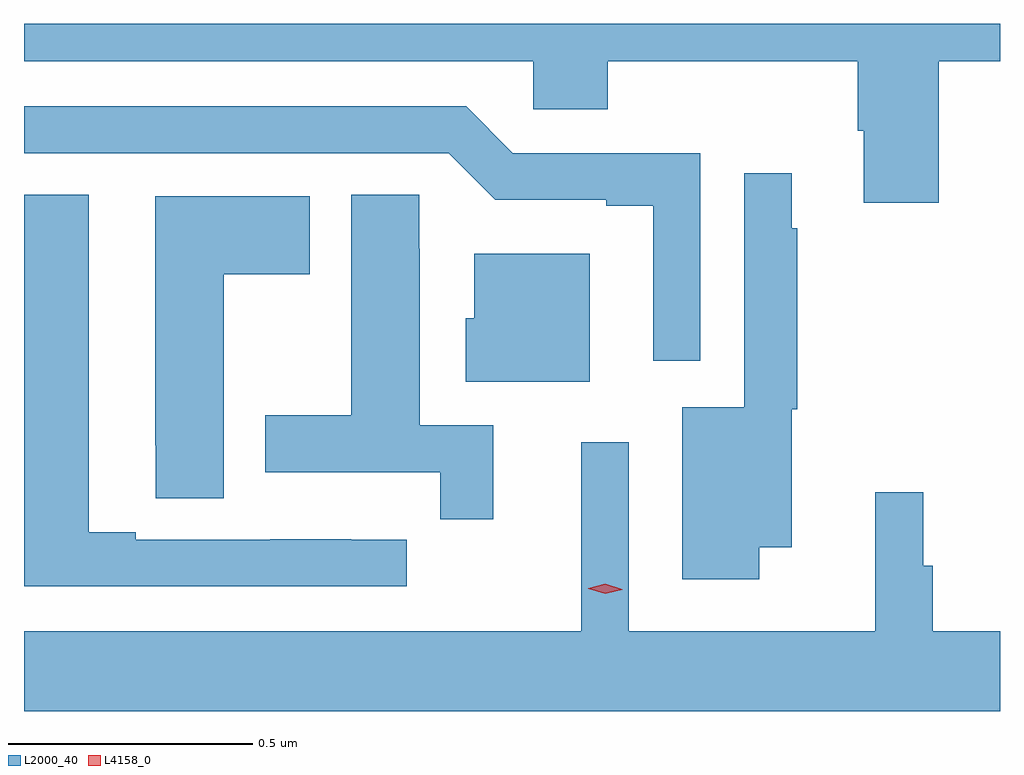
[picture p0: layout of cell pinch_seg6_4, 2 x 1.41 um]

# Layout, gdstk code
import gdstk
lib = gdstk.Library(unit=1e-6, precision=1e-09)
def P(c, l, *ps):  # polygons
    for p in ps: c.add(gdstk.Polygon(p, *l))
L2000_40 = (2000, 40)
L4158_0 = (4158, 0)

pinch_seg6_4 = lib.new_cell('pinch_seg6_4')
P(pinch_seg6_4, L2000_40, [(1109.369,993.956),(1109.495,993.956),(1109.495,994.033),(1107.495,994.033),(1107.495,993.956),(1108.539,993.956),(1108.539,993.858),(1108.691,993.858),(1108.691,993.956),(1109.204,993.956),(1109.204,993.814),(1109.216,993.814),(1109.216,993.666),(1109.369,993.666)],
  [(1108.881,993.768),(1108.497,993.768),(1108.401,993.864),(1107.495,993.864),(1107.495,993.768),(1108.365,993.768),(1108.461,993.672),(1108.688,993.672),(1108.688,993.66),(1108.784,993.66),(1108.784,993.342),(1108.881,993.342)],
  [(1109.002,992.96),(1109.068,992.96),(1109.068,993.243),(1109.08,993.243),(1109.08,993.614),(1109.068,993.614),(1109.068,993.727),(1108.971,993.727),(1108.971,993.247),(1108.844,993.247),(1108.844,992.895),(1109.002,992.895)],
  [(1108.457,993.21),(1108.306,993.21),(1108.306,993.572),(1108.305,993.572),(1108.305,993.683),(1108.166,993.683),(1108.166,993.231),(1107.989,993.231),(1107.989,993.114),(1108.348,993.114),(1108.348,993.018),(1108.457,993.018)],
  [(1108.279,992.976),(1108.166,992.976),(1108.166,992.977),(1108,992.977),(1108,992.976),(1107.724,992.976),(1107.724,992.991),(1107.628,992.991),(1107.628,993.683),(1107.495,993.683),(1107.495,992.88),(1108.279,992.88)],
  [(1107.904,993.52),(1108.081,993.52),(1108.081,993.679),(1107.764,993.679),(1107.764,993.169),(1107.765,993.169),(1107.765,993.061),(1107.904,993.061)],
  [(1108.654,993.562),(1108.418,993.562),(1108.418,993.429),(1108.4,993.429),(1108.4,993.299),(1108.654,993.299)],
  [(1109.495,992.788),(1109.357,992.788),(1109.357,992.922),(1109.338,992.922),(1109.338,993.073),(1109.239,993.073),(1109.239,992.788),(1108.734,992.788),(1108.734,993.175),(1108.637,993.175),(1108.637,992.788),(1107.495,992.788),(1107.495,992.624),(1109.495,992.624)])
P(pinch_seg6_4, L4158_0, [(1108.686,992.865),(1108.651,992.875),(1108.651,992.876),(1108.651,992.876),(1108.686,992.885),(1108.721,992.874),(1108.721,992.874),(1108.721,992.873)])

lib.write_gds('pinch_seg6_4.gds')
